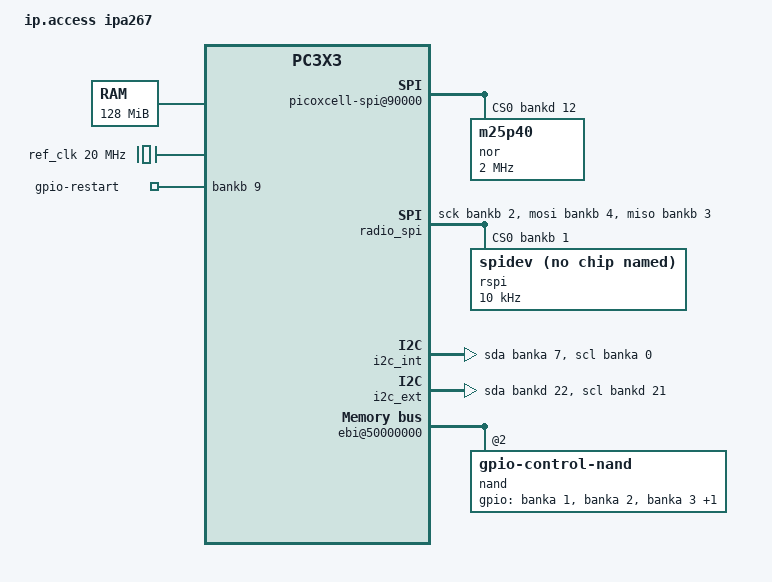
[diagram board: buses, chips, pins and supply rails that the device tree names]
/dts-v1/;

#include "picoxcell-pc3x3.dtsi"

/ {
	model = "ip.access ipa267";
	compatible = "ipaccess,ipa267", "picochip,pc3x3";

	memory {
		device_type = "memory";
		reg = <0x0 0x08000000>;
	};

	chosen {
		linux,stdout-path = &uart0;
	};

	aliases {
		serial0 = &uart0;
		serial1 = &uart1;
		ethernet0 = &emac;
		spi0 = &ssi;
		spi1 = &radio_spi;
		i2c0 = &i2c_int;
		i2c1 = &i2c_ext;
	};

	clocks {
		ref_clk: clock@10 {
			compatible = "fixed-clock";
			#clock-cells = <0>;
			clock-output-names = "ref";
			clock-frequency = <20000000>;
		};
	};

	paxi {
                picoxcell-spi@90000 {
			status = "okay";
			pinctrl-names = "default", "sleep";
			pinctrl-0 = <&ssi_pins>;
			pinctrl-1 = <&ssi_pins>;
			cs-gpios = <&bankd 12 0>, <&bankd 13 0>,
				   <&bankd 14 0>, <&bankd 15 0>;

			nor: spi-nor@0 {
				compatible = "m25p40", "jedec,spi-nor";
				reg = <0>;
				spi-max-frequency = <2000000>;
				spi-cpol;
				spi-cpha;
				#address-cells = <1>;
				#size-cells = <0>;

				fsbl-0@0 {
					label = "FSBL0";
					reg = <0x00000000 0x00080000>;
				};
			};

			mmc: mmc-spi@1 {
				compatible = "mmc-spi-slot";
				reg = <1>;
				spi-max-frequency = <2000000>;
				voltage-ranges = <3300 3300>;
				broken-cd;
				status = "disabled";
			};

			refdac: dac7512@2 {
				compatible = "ti,dac7512";
				reg = <2>;
				spi-max-frequency = <10000>;
				/* spi-cpha; I'm fairly confident that we're wrong here, so leave this at SPI mode 0 */
				status = "disabled";
			};

			eswitch: ethernet-switch@3 {
				compatible = "micrel,ksz8463";
				reg = <3>;
				spi-max-frequency = <1000000>;
				status = "disabled";
			};
                };

		pin-controller@a0034 {
			pinctrl-names = "default", "sleep";
			pinctrl-0 = <&pai_pins>;
			pinctrl-1 = <&pai_pins>;

			gpio_pins: gpio_pins {_{
				function	= "gpio";
				groups		= "shd_gpio0_grp",	/* gpio0 */
						  "shd_gpio1_grp",	/* gpio1 */
						  "shd_gpio2_grp",	/* gpio2 */
						  "shd_gpio3_grp",	/* gpio3 */
						  "ebi_addr_22_grp",	/* gpio4 */
						  "ebi_addr_23_grp",	/* gpio5 */
						  "ebi_addr_24_grp",	/* gpio6 */
						  "ebi_addr_25_grp",	/* gpio7 */
						  "shd_gpio_grp",	/* gpio8 */
						  "boot_mode_0_grp",	/* gpio9 */
						  "boot_mode_1_grp",	/* gpio10 */
						  "sdram_speed_sel_grp",/* gpio11 */
						  "mii_rev_en_grp",	/* gpio12 */
						  "mii_rmii_en_grp",	/* gpio13 */
						  "mii_speed_sel_grp",	/* gpio14 */
						  "ebi_addr_26_grp",	/* gpio15 */
						  "shd_gpio16_grp",	/* gpio16 */
						  "shd_gpio17_grp",	/* gpio17 */
						  "shd_gpio18_grp",	/* gpio18 */
						  "shd_gpio19_grp",	/* gpio19 */
						  "ebi_addr_18_grp",	/* gpio20 */
						  "ebi_addr_19_grp",	/* gpio21 */
						  "ebi_addr_20_grp",	/* gpio22 */
						  "ebi_addr_21_grp",	/* gpio23 */
						  /* "pai_tx_data_4_grp", */	/* gpio24 */
						  /* "pai_tx_data_5_grp", */	/* gpio25 */
						  /* "pai_tx_data_6_grp", */	/* gpio26 */
						  /* "pai_tx_data_7_grp", */	/* gpio27 */
						  /* "pai_rx_data_4_grp", */	/* gpio28 */
						  /* "pai_rx_data_5_grp", */	/* gpio29 */
						  /* "pai_rx_data_6_grp", */	/* gpio30 */
						  /* "pai_rx_data_7_grp", */	/* gpio31 */
						  "ebi_addr_14_grp",	/* gpio32 */
						  "ebi_addr_15_grp",	/* gpio33 */
						  "ebi_addr_16_grp",	/* gpio34 */
						  "ebi_addr_17_grp",	/* gpio35 */
						  "ebi_decode_0_grp",	/* gpio36 */
						  "ebi_decode_1_grp",	/* gpio37 */
						  "ebi_decode_2_grp",	/* gpio38 */
						  "ebi_decode_3_grp",	/* gpio39 */
						  /* "ssi_grp", */	/* gpio40-gpio42 */
						  "mii_grp",		/* gpio43-gpio49 */
						  "maxphy_grp",		/* gpio50-gpio52 */
						  "ebi_clk_grp",	/* gpio53 */
						  "boot_error_grp";	/* gpio54 (boot error) */
			};};

			sdgpio_pins: sdgpio_pins {_{
				function = "sdgpio";
			};};
		};

		sdgpio@a0100 {
			status = "okay";
			sdgpio-controller@0 {
				gpio-ranges = <&pinctrl  0 PC3X3_SDGPIO_0      1>,
					      <&pinctrl  1 PC3X3_SDGPIO_1      1>,
					      <&pinctrl  2 PC3X3_SDGPIO_2      1>,
					      <&pinctrl  3 PC3X3_SDGPIO_3      1>,
					      <&pinctrl  4 PC3X3_SDGPIO_4_EBI  1>,
					      <&pinctrl  5 PC3X3_SDGPIO_5_EBI  1>,
					      <&pinctrl  6 PC3X3_SDGPIO_6_EBI  1>,
					      <&pinctrl  7 PC3X3_SDGPIO_7_EBI  1>,
					      <&pinctrl  8 PC3X3_SDGPIO_8      1>,
					      <&pinctrl  9 PC3X3_SDGPIO_9      1>,
					      <&pinctrl 10 PC3X3_SDGPIO_10     1>,
					      <&pinctrl 11 PC3X3_SDGPIO_11     1>,
					      <&pinctrl 12 PC3X3_SDGPIO_12     1>,
					      <&pinctrl 13 PC3X3_SDGPIO_13     1>,
					      <&pinctrl 14 PC3X3_SDGPIO_14     1>,
					      <&pinctrl 15 PC3X3_SDGPIO_15     1>,
					      <&pinctrl 16 PC3X3_SDGPIO_16     1>,
					      <&pinctrl 17 PC3X3_SDGPIO_17     1>,
					      <&pinctrl 18 PC3X3_SDGPIO_18     1>,
					      <&pinctrl 19 PC3X3_SDGPIO_19     1>,
					      <&pinctrl 20 PC3X3_SDGPIO_20_EBI 1>,
					      <&pinctrl 21 PC3X3_SDGPIO_21_EBI 1>,
					      <&pinctrl 22 PC3X3_SDGPIO_22_EBI 1>,
					      <&pinctrl 23 PC3X3_SDGPIO_23_EBI 1>;
				picochip,sdgpio-allowed = /bits/ 16 <>;
			};
		};

		apb {
			gpio@20000 {
				gpio-controller@0 {
					gpio-ranges = <&pinctrl  0 PC3X3_ARM_GPIO_0      1>,	/* GPIO/I2C_SCL */
						      <&pinctrl  1 PC3X3_ARM_GPIO_1      1>,	/* NAND RDY */
						      <&pinctrl  2 PC3X3_ARM_GPIO_2      1>,	/* NAND NCE */
						      <&pinctrl  3 PC3X3_ARM_GPIO_3      1>,	/* NAND ALE */
						      <&pinctrl  4 PC3X3_ARM_GPIO_4_EBI  1>,	/* NAND CLE */
						      <&pinctrl  5 PC3X3_ARM_GPIO_5_EBI  1>,	/* GPIO/3G NWK G LED */
						      <&pinctrl  6 PC3X3_ARM_GPIO_6_EBI  1>,	/* GPIO/LAN Interrupt (WTF?!) */
						      <&pinctrl  7 PC3X3_ARM_GPIO_7_EBI  1>;	/* GPIO/I2C_SDA */
				};
				gpio-controller@1 {
					gpio-ranges = <&pinctrl  0 PC3X3_ARM_GPIO_8      1>,	/* GPIO/SPI_RF_CS1_L */
						      <&pinctrl  1 PC3X3_ARM_GPIO_9      1>,	/* GPIO/SPI_RF_CS0_L */
						      <&pinctrl  2 PC3X3_ARM_GPIO_10     1>,	/* GPIO/SPI_RF_CLK */
						      <&pinctrl  3 PC3X3_ARM_GPIO_11     1>,	/* GPIO/SPI_RF_MISO */
						      <&pinctrl  4 PC3X3_ARM_GPIO_12     1>,	/* GPIO/SPI_RF_MOSI */
						      <&pinctrl  5 PC3X3_ARM_GPIO_13     1>,	/* GPIO/SPI_RF_CS2_L */
						      <&pinctrl  6 PC3X3_ARM_GPIO_14     1>,	/* GPIO/SPI_RF_CS3_L */
						      <&pinctrl  7 PC3X3_ARM_GPIO_15     1>,	/* GPIO/FAULT LED R */
						      <&pinctrl  8 PC3X3_ARM_GPIO_16     1>,	/* GPIO/RADIO_OFF */
						      <&pinctrl  9 PC3X3_ARM_GPIO_17     1>,	/* GPIO/SW_RESET_REQ_L */
						      <&pinctrl 10 PC3X3_ARM_GPIO_18     1>,	/* GPIO/RADIO_EN_AGC */
						      <&pinctrl 11 PC3X3_ARM_GPIO_19     1>,	/* GPIO/RADIO_ENABLE */
						      <&pinctrl 12 PC3X3_ARM_GPIO_20_EBI 1>,	/* GPIO/TXNRX */
						      <&pinctrl 13 PC3X3_ARM_GPIO_21_EBI 1>,	/* GPIO/HSUPA ACK/NACK (Testpointed only) */
						      <&pinctrl 14 PC3X3_ARM_GPIO_22_EBI 1>,	/* GPIO/NWK_LED_RED */
						      <&pinctrl 15 PC3X3_ARM_GPIO_23_EBI 1>;	/* GPIO/DEFAULT_RESET_L */
				};
			};

			radio_spi: spi-gpio@20000 {
				compatible = "spi-gpio";
				#address-cells = <0x1>;
				#size-cells = <0>;
				gpio-sck = <&bankb 2 0>;
				gpio-miso = <&bankb 3 0>;
				gpio-mosi = <&bankb 4 0>;
				num-chipselects = <4>;
				cs-gpios = <&bankb 1 0>, <&bankb 0 0>, <&bankb 5 0>, <&bankb 6 0>;

				rspi: spidev@0 { /* spidev support is not exactly advanced */
					compatible = "rohm,dh2228fv", "linux,spidev";
					reg = <0>;
					spi-max-frequency = <10000>;
					spi-cpol;
					spi-cpha;
				};
			};

			i2c_int: i2c-gpio-0@20000 {
				compatible = "i2c-gpio";
				#address-cells = <1>;
				#size-cells = <0>;
				i2c-gpio,delay-us = <2>;	/* ~100 kHz */
				i2c-gpio,timeout-ms = <100>;
				gpios = <&banka 7 0>,		/* SDA */
					<&banka 0 0>;		/* SCL */

				/* ad7995    0x28 */
				/* lm75      0x48 */
				/* lm75      0x4f */
				/* htu21     0x40 */
				/* pca9539   0x74 (GPIO-base is 200, which is WRONG) */
			};

			i2c_ext: i2c-gpio-external@20000 {
				compatible = "i2c-gpio";
				#address-cells = <1>;
				#size-cells = <0>;
				i2c-gpio,delay-us = <2>;	/* ~100 kHz */
				i2c-gpio,timeout-ms = <100>;
				gpios = <&bankd 22 0>,		/* SDA */
					<&bankd 21 0>;		/* SCL */

				/* lm75      0x48 */
			};

			wdt_ext: ipa-adm6313-wdt@20000 {
				compatible = "ipa,adm63xx-wdt";
				enable-gpios = <&bankd 19 GPIO_ACTIVE_HIGH>;
				tick-gpios = <&bankd 29 GPIO_ACTIVE_HIGH>;
				timeouts = <17900000	/* minimum timeout, in microseconds (for udelay(tmo*1.2)) */
					    25600000	/* typical timeout */
					    38400000>;	/* maximum timeout */
			};

			gpio-restart {
				compatible = "gpio-restart";
				gpios = <&bankb 9 GPIO_ACTIVE_HIGH>;
				priority = <155>;
				active-delay = <100>;
				inactive-delay = <100>;
				wait-delay = <3000>;
			};
		};
	};

	rwid-axi {
		ebi@50000000 {
			nand: gpio-nand@2,0 {
				compatible = "gpio-control-nand";
				#address-cells = <1>;
				#size-cells = <1>;
				reg = <2 0x0000 0x1000>;
				clocks = <&ebi_clk>;
				clock-names = "bus";

				/* use otherwise reserved I/O for sync */
				gpio-control-nand,io-sync-reg =
					<0x00000000 0x80200000>;

				gpios = <&banka 1 0>,	/* rdy */
					<&banka 2 0>, 	/* nce */
					<&banka 3 0>, 	/* ale */
					<&banka 4 0>, 	/* cle */
					<0>;		/* nwp */

				spl-0@0 {
					label = "SPL0";
					reg = <0x00000000 0x00040000>;
				};

				spl-1@40000 {
					label = "SPL1";
					reg = <0x00040000 0x00040000>;
				};

				spl-2@80000 {
					label = "SPL2";
					reg = <0x00080000 0x00040000>;
				};

				spl-3@c0000 {
					label = "SPL3";
					reg = <0x000c0000 0x00040000>;
				};

				primary-uboot@100000 {
					label = "UBOOT0";
					reg = <0x00100000 0x003e0000>;
				};

				redundant-uboot@500000 {
					label = "UBOOT1";
					reg = <0x00500000 0x003e0000>;
				};

				filesystem@900000 {
					label = "FS";
					reg = <0x00900000 0x07700000>;
				};
			};
		};
	};
};
